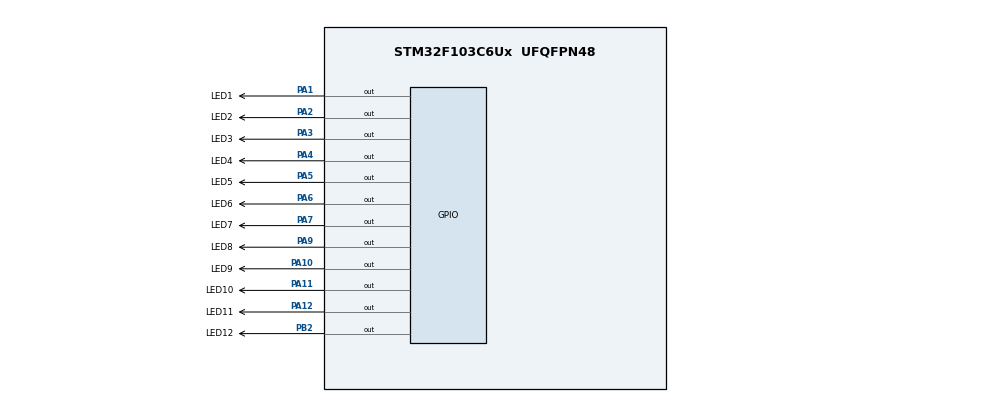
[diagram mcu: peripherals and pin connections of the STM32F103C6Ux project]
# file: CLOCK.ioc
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Mcu.Family=STM32F1
Mcu.Name=STM32F103C6Ux
Mcu.Package=UFQFPN48
NVIC.PriorityGroup=NVIC_PRIORITYGROUP_4
PA1.GPIO_Label=LED1
PA1.Signal=GPIO_Output
PA10.GPIO_Label=LED9
PA10.Signal=GPIO_Output
PA11.GPIO_Label=LED10
PA11.Signal=GPIO_Output
PA12.GPIO_Label=LED11
PA12.Signal=GPIO_Output
PA2.GPIO_Label=LED2
PA2.Signal=GPIO_Output
PA3.GPIO_Label=LED3
PA3.Signal=GPIO_Output
PA4.GPIO_Label=LED4
PA4.Signal=GPIO_Output
PA5.GPIO_Label=LED5
PA5.Signal=GPIO_Output
PA6.GPIO_Label=LED6
PA6.Signal=GPIO_Output
PA7.GPIO_Label=LED7
PA7.Signal=GPIO_Output
PA9.GPIO_Label=LED8
PA9.Signal=GPIO_Output
PB2.GPIO_Label=LED12
PB2.Signal=GPIO_Output
ProjectManager.HeapSize=0x200
ProjectManager.StackSize=0x400
ProjectManager.TargetToolchain=STM32CubeIDE
RCC.APB1Freq_Value=8000000
RCC.APB2Freq_Value=8000000
VP_SYS_VS_ND.Mode=No_Debug
board=custom

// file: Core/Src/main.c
/* USER CODE BEGIN Header */
/**
  ******************************************************************************
  * @file           : main.c
  * @brief          : Main program body
  ******************************************************************************
  * @attention
  *
  * <h2><center>&copy; Copyright (c) 2022 STMicroelectronics.
  * All rights reserved.</center></h2>
  *
  * This software component is licensed by ST under BSD 3-Clause license,
  * the "License"; You may not use this file except in compliance with the
  * License. You may obtain a copy of the License at:
  *                        opensource.org/licenses/BSD-3-Clause
  *
  ******************************************************************************
  */
/* USER CODE END Header */
#include "main.h"

void SystemClock_Config(void);
static void MX_GPIO_Init(void);

int main(void)
{

  /* MCU Configuration--------------------------------------------------------*/

  /* Reset of all peripherals, Initializes the Flash interface and the Systick. */
  HAL_Init();

  /* Configure the system clock */
  SystemClock_Config();

  /* Initialize all configured peripherals */
  MX_GPIO_Init();

  /* Infinite loop */
  /* USER CODE BEGIN WHILE */
  void clearAllClock() {
	  HAL_GPIO_WritePin(LED1_GPIO_Port, LED1_Pin, RESET);
	  HAL_GPIO_WritePin(LED2_GPIO_Port, LED2_Pin, RESET);
	  HAL_GPIO_WritePin(LED3_GPIO_Port, LED3_Pin, RESET);
	  HAL_GPIO_WritePin(LED4_GPIO_Port, LED4_Pin, RESET);
	  HAL_GPIO_WritePin(LED5_GPIO_Port, LED5_Pin, RESET);
	  HAL_GPIO_WritePin(LED6_GPIO_Port, LED6_Pin, RESET);
	  HAL_GPIO_WritePin(LED7_GPIO_Port, LED7_Pin, RESET);
	  HAL_GPIO_WritePin(LED8_GPIO_Port, LED8_Pin, RESET);
	  HAL_GPIO_WritePin(LED9_GPIO_Port, LED9_Pin, RESET);
	  HAL_GPIO_WritePin(LED10_GPIO_Port, LED10_Pin, RESET);
	  HAL_GPIO_WritePin(LED11_GPIO_Port, LED11_Pin, RESET);
	  HAL_GPIO_WritePin(LED12_GPIO_Port, LED12_Pin, RESET);
  }

  void setNumberOnClock(int num){
 	  if(num == 0){
 		  HAL_GPIO_WritePin(LED1_GPIO_Port, LED1_Pin, SET);
 	  }
 	  else if(num == 1){
 		  HAL_GPIO_WritePin(LED2_GPIO_Port, LED2_Pin, SET);
 	  }
 	  else if(num == 2){
 		  HAL_GPIO_WritePin(LED3_GPIO_Port, LED3_Pin, SET);
 	  }
 	  else if(num == 3){
 		  HAL_GPIO_WritePin(LED4_GPIO_Port, LED4_Pin, SET);
 	  }
 	  else if(num == 4){
 		  HAL_GPIO_WritePin(LED5_GPIO_Port, LED5_Pin, SET);
 	  }
 	  else if(num == 5){
 		  HAL_GPIO_WritePin(LED6_GPIO_Port, LED6_Pin, SET);
 	  }
 	  else if(num == 6){
 		  HAL_GPIO_WritePin(LED7_GPIO_Port, LED7_Pin, SET);
 	  }
 	  else if(num == 7){
 		  HAL_GPIO_WritePin(LED8_GPIO_Port, LED8_Pin, SET);
 	  }
 	  else if(num == 8){
 		  HAL_GPIO_WritePin(LED9_GPIO_Port, LED9_Pin, SET);
 	  }
 	  else if(num == 9){
 		  HAL_GPIO_WritePin(LED10_GPIO_Port, LED10_Pin, SET);
 	  }
 	  else if(num == 10){
 		  HAL_GPIO_WritePin(LED11_GPIO_Port, LED11_Pin, SET);
 	  }
 	  else if(num == 11){
 		  HAL_GPIO_WritePin(LED12_GPIO_Port, LED12_Pin, SET);
 	  }
   }

  void clearNumberOnClock(int num){
  	  if(num == 0){
  		  HAL_GPIO_WritePin(LED1_GPIO_Port, LED1_Pin, RESET);
  	  }
  	  else if(num == 1){
  		  HAL_GPIO_WritePin(LED2_GPIO_Port, LED2_Pin, RESET);
  	  }
  	  else if(num == 2){
  		  HAL_GPIO_WritePin(LED3_GPIO_Port, LED3_Pin, RESET);
  	  }
  	  else if(num == 3){
  		  HAL_GPIO_WritePin(LED4_GPIO_Port, LED4_Pin, RESET);
  	  }
  	  else if(num == 4){
  		  HAL_GPIO_WritePin(LED5_GPIO_Port, LED5_Pin, RESET);
  	  }
  	  else if(num == 5){
  		  HAL_GPIO_WritePin(LED6_GPIO_Port, LED6_Pin, RESET);
  	  }
  	  else if(num == 6){
  		  HAL_GPIO_WritePin(LED7_GPIO_Port, LED7_Pin, RESET);
  	  }
  	  else if(num == 7){
  		  HAL_GPIO_WritePin(LED8_GPIO_Port, LED8_Pin, RESET);
  	  }
  	  else if(num == 8){
  		  HAL_GPIO_WritePin(LED9_GPIO_Port, LED9_Pin, RESET);
  	  }
  	  else if(num == 9){
  		  HAL_GPIO_WritePin(LED10_GPIO_Port, LED10_Pin, RESET);
  	  }
  	  else if(num == 10){
  		  HAL_GPIO_WritePin(LED11_GPIO_Port, LED11_Pin, RESET);
  	  }
  	  else if(num == 11){
  		  HAL_GPIO_WritePin(LED12_GPIO_Port, LED12_Pin, RESET);
  	  }
    }

  int minute_timer = 60;
  int second_timer = 60;
  int counter_second = 0;
  int counter_minute = 0;
  int counter_hour = 0;

  while (1)
  {

if(second_timer <= 0){
	counter_minute++;
	minute_timer = minute_timer - 5;
	second_timer = 60;
}

if(minute_timer <= 0){
	counter_hour++;
	minute_timer = 60;
}

if(counter_second >= 12)
	counter_second = 0;

if(counter_minute >= 12)
	counter_minute = 0;

if(counter_hour >= 12)
	counter_hour = 0;

clearAllClock();
setNumberOnClock(counter_second);
setNumberOnClock(counter_minute);
setNumberOnClock(counter_hour);

counter_second++;
second_timer--;
    /* USER CODE END WHILE */

    /* USER CODE BEGIN 3 */
	  HAL_Delay(500);
  }
  /* USER CODE END 3 */
}

void SystemClock_Config(void)
{
  RCC_OscInitTypeDef RCC_OscInitStruct = {0};
  RCC_ClkInitTypeDef RCC_ClkInitStruct = {0};

  /** Initializes the RCC Oscillators according to the specified parameters
  * in the RCC_OscInitTypeDef structure.
  */
  RCC_OscInitStruct.OscillatorType = RCC_OSCILLATORTYPE_HSI;
  RCC_OscInitStruct.HSIState = RCC_HSI_ON;
  RCC_OscInitStruct.HSICalibrationValue = RCC_HSICALIBRATION_DEFAULT;
  RCC_OscInitStruct.PLL.PLLState = RCC_PLL_NONE;
  if (HAL_RCC_OscConfig(&RCC_OscInitStruct) != HAL_OK)
  {
    Error_Handler();
  }
  /** Initializes the CPU, AHB and APB buses clocks
  */
  RCC_ClkInitStruct.ClockType = RCC_CLOCKTYPE_HCLK|RCC_CLOCKTYPE_SYSCLK
                              |RCC_CLOCKTYPE_PCLK1|RCC_CLOCKTYPE_PCLK2;
  RCC_ClkInitStruct.SYSCLKSource = RCC_SYSCLKSOURCE_HSI;
  RCC_ClkInitStruct.AHBCLKDivider = RCC_SYSCLK_DIV1;
  RCC_ClkInitStruct.APB1CLKDivider = RCC_HCLK_DIV1;
  RCC_ClkInitStruct.APB2CLKDivider = RCC_HCLK_DIV1;

  if (HAL_RCC_ClockConfig(&RCC_ClkInitStruct, FLASH_LATENCY_0) != HAL_OK)
  {
    Error_Handler();
  }
}

static void MX_GPIO_Init(void)
{
  GPIO_InitTypeDef GPIO_InitStruct = {0};

  /* GPIO Ports Clock Enable */
  __HAL_RCC_GPIOA_CLK_ENABLE();
  __HAL_RCC_GPIOB_CLK_ENABLE();

  /*Configure GPIO pin Output Level */
  HAL_GPIO_WritePin(GPIOA, LED1_Pin|LED2_Pin|LED3_Pin|LED4_Pin
                          |LED5_Pin|LED6_Pin|LED7_Pin|LED8_Pin
                          |LED9_Pin|LED10_Pin|LED11_Pin, GPIO_PIN_RESET);

  /*Configure GPIO pin Output Level */
  HAL_GPIO_WritePin(LED12_GPIO_Port, LED12_Pin, GPIO_PIN_RESET);

  /*Configure GPIO pins : LED1_Pin LED2_Pin LED3_Pin LED4_Pin
                           LED5_Pin LED6_Pin LED7_Pin LED8_Pin
                           LED9_Pin LED10_Pin LED11_Pin */
  GPIO_InitStruct.Pin = LED1_Pin|LED2_Pin|LED3_Pin|LED4_Pin
                          |LED5_Pin|LED6_Pin|LED7_Pin|LED8_Pin
                          |LED9_Pin|LED10_Pin|LED11_Pin;
  GPIO_InitStruct.Mode = GPIO_MODE_OUTPUT_PP;
  GPIO_InitStruct.Pull = GPIO_NOPULL;
  GPIO_InitStruct.Speed = GPIO_SPEED_FREQ_LOW;
  HAL_GPIO_Init(GPIOA, &GPIO_InitStruct);

  /*Configure GPIO pin : LED12_Pin */
  GPIO_InitStruct.Pin = LED12_Pin;
  GPIO_InitStruct.Mode = GPIO_MODE_OUTPUT_PP;
  GPIO_InitStruct.Pull = GPIO_NOPULL;
  GPIO_InitStruct.Speed = GPIO_SPEED_FREQ_LOW;
  HAL_GPIO_Init(LED12_GPIO_Port, &GPIO_InitStruct);

}

void Error_Handler(void)
{
  __disable_irq();
  while (1)
  {
  }
}

/************************ (C) COPYRIGHT STMicroelectronics *****END OF FILE****/
